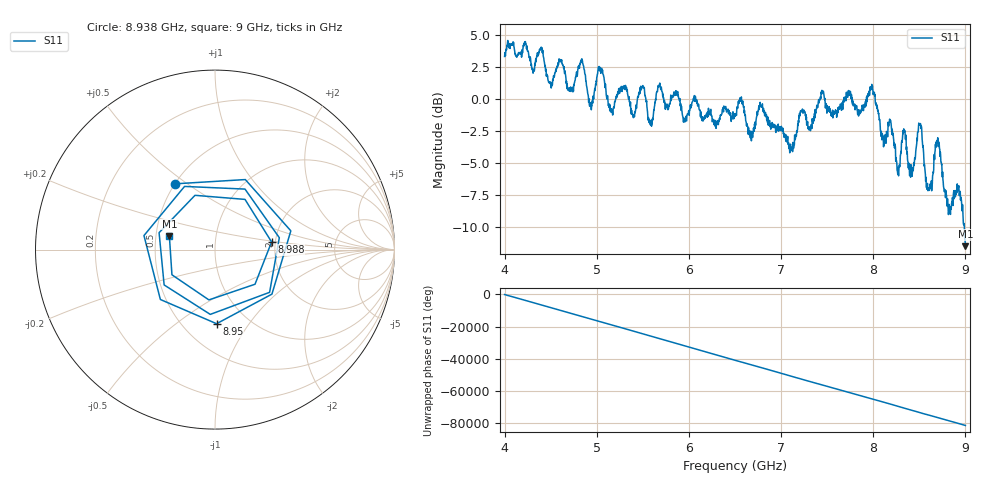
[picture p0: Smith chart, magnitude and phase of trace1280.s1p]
! Created with skrf 1.8.0 (http://scikit-rf.org).
# Hz S RI R 50.0
!freq ReS11 ImS11
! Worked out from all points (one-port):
!   1601 points, 4 GHz to 9 GHz, reference 50 ohm
!   lowest |S11| = -11.5 dB at 9 GHz (marker M1), VSWR 1.72, Z = 29.4 + j4.84 ohm
!   |S11| at or under -10 dB: 8.988239 GHz to end of sweep
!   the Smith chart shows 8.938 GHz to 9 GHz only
!   S11 on the Smith chart (normalised r, x): 8.938 GHz: 0.50, +0.45; 8.95 GHz: 0.72, -0.72; 8.988 GHz: 1.91, +0.18; 9 GHz: 0.59, +0.10
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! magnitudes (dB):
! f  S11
! 4 GHz  3.3
! 4.625 GHz  2.8
! 4.722 GHz  0.8
! 4.841 GHz  2.9
! 4.931 GHz  -0.4
! 5.038 GHz  2.2
! 5.15 GHz  -1.0
! 5.25 GHz  0.9
! 5.497 GHz  1.0
! 5.581 GHz  -2.0
! 5.675 GHz  1.1
! 5.875 GHz  0.4
! 6.5 GHz  -1.2
! 7.125 GHz  -4.1
! 7.225 GHz  -0.9
! 7.75 GHz  0.6
! 7.991 GHz  1.1
! 8.266 GHz  -5.9
! 8.331 GHz  -2.3
! 8.375 GHz  -4.9
! 8.506 GHz  -2.1
! 8.594 GHz  -7.2
! 8.697 GHz  -3.3
! 8.822 GHz  -8.2
! 8.938 GHz  -7.4
! 8.95 GHz  -7.7
! 8.988 GHz  -9.9
! 9 GHz  -11.5
